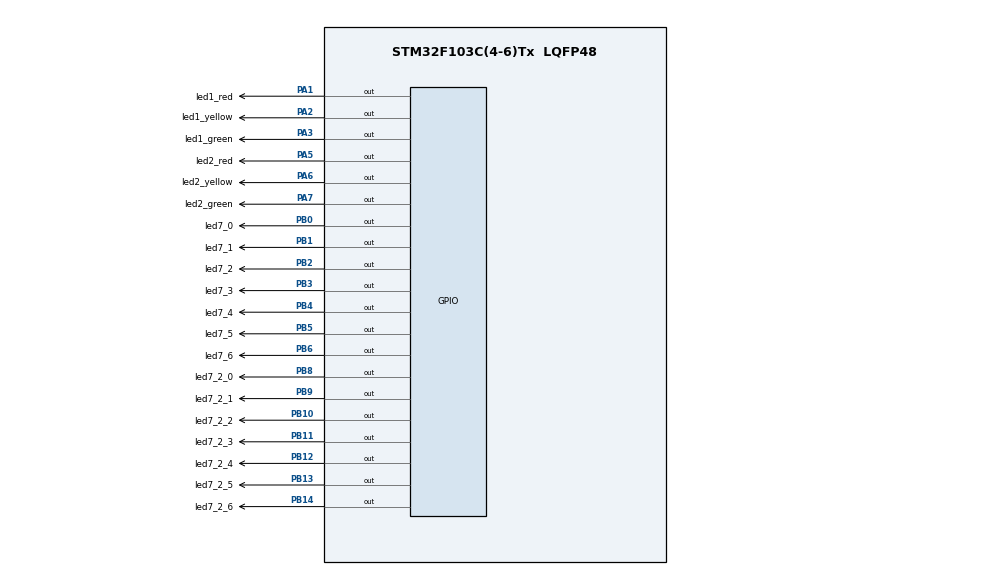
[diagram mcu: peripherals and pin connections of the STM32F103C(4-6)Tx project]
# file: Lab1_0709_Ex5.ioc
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Mcu.Family=STM32F1
Mcu.Name=STM32F103C(4-6)Tx
Mcu.Package=LQFP48
NVIC.PriorityGroup=NVIC_PRIORITYGROUP_4
PA1.GPIO_Label=led1_red
PA1.Signal=GPIO_Output
PA2.GPIO_Label=led1_yellow
PA2.Signal=GPIO_Output
PA3.GPIO_Label=led1_green
PA3.Signal=GPIO_Output
PA5.GPIO_Label=led2_red
PA5.Signal=GPIO_Output
PA6.GPIO_Label=led2_yellow
PA6.Signal=GPIO_Output
PA7.GPIO_Label=led2_green
PA7.Signal=GPIO_Output
PB0.GPIO_Label=led7_0
PB0.Signal=GPIO_Output
PB1.GPIO_Label=led7_1
PB1.Signal=GPIO_Output
PB10.GPIO_Label=led7_2_2
PB10.Signal=GPIO_Output
PB11.GPIO_Label=led7_2_3
PB11.Signal=GPIO_Output
PB12.GPIO_Label=led7_2_4
PB12.Signal=GPIO_Output
PB13.GPIO_Label=led7_2_5
PB13.Signal=GPIO_Output
PB14.GPIO_Label=led7_2_6
PB14.Signal=GPIO_Output
PB2.GPIO_Label=led7_2
PB2.Signal=GPIO_Output
PB3.GPIO_Label=led7_3
PB3.Signal=GPIO_Output
PB4.GPIO_Label=led7_4
PB4.Signal=GPIO_Output
PB5.GPIO_Label=led7_5
PB5.Signal=GPIO_Output
PB6.GPIO_Label=led7_6
PB6.Signal=GPIO_Output
PB8.GPIO_Label=led7_2_0
PB8.Signal=GPIO_Output
PB9.GPIO_Label=led7_2_1
PB9.Signal=GPIO_Output
ProjectManager.HeapSize=0x200
ProjectManager.StackSize=0x400
ProjectManager.TargetToolchain=STM32CubeIDE
RCC.APB1Freq_Value=8000000
RCC.APB2Freq_Value=8000000
VP_SYS_VS_ND.Mode=No_Debug
board=custom

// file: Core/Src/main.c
/* USER CODE BEGIN Header */
/**
  ******************************************************************************
  * @file           : main.c
  * @brief          : Main program body
  ******************************************************************************
  * @attention
  *
  * <h2><center>&copy; Copyright (c) 2021 STMicroelectronics.
  * All rights reserved.</center></h2>
  *
  * This software component is licensed by ST under BSD 3-Clause license,
  * the "License"; You may not use this file except in compliance with the
  * License. You may obtain a copy of the License at:
  *                        opensource.org/licenses/BSD-3-Clause
  *
  ******************************************************************************
  */
/* USER CODE END Header */
#include "main.h"

void SystemClock_Config(void);
static void MX_GPIO_Init(void);

/* USER CODE BEGIN 0 */
void display7SEG1(int num){
	switch(num){
	case 0:
		HAL_GPIO_WritePin(led7_0_GPIO_Port, led7_0_Pin, GPIO_PIN_RESET);
		HAL_GPIO_WritePin(led7_1_GPIO_Port, led7_1_Pin, GPIO_PIN_RESET);
		HAL_GPIO_WritePin(led7_2_GPIO_Port, led7_2_Pin, GPIO_PIN_RESET);
		HAL_GPIO_WritePin(led7_3_GPIO_Port, led7_3_Pin, GPIO_PIN_RESET);
		HAL_GPIO_WritePin(led7_4_GPIO_Port, led7_4_Pin, GPIO_PIN_RESET);
		HAL_GPIO_WritePin(led7_5_GPIO_Port, led7_5_Pin, GPIO_PIN_RESET);
		HAL_GPIO_WritePin(led7_6_GPIO_Port, led7_6_Pin, GPIO_PIN_SET);
		break;
	case 1:
		HAL_GPIO_WritePin(led7_0_GPIO_Port, led7_0_Pin, GPIO_PIN_SET);
		HAL_GPIO_WritePin(led7_1_GPIO_Port, led7_1_Pin, GPIO_PIN_RESET);
		HAL_GPIO_WritePin(led7_2_GPIO_Port, led7_2_Pin, GPIO_PIN_RESET);
		HAL_GPIO_WritePin(led7_3_GPIO_Port, led7_3_Pin, GPIO_PIN_SET);
		HAL_GPIO_WritePin(led7_4_GPIO_Port, led7_4_Pin, GPIO_PIN_SET);
		HAL_GPIO_WritePin(led7_5_GPIO_Port, led7_5_Pin, GPIO_PIN_SET);
		HAL_GPIO_WritePin(led7_6_GPIO_Port, led7_6_Pin, GPIO_PIN_SET);
		break;
	case 2:
		HAL_GPIO_WritePin(led7_0_GPIO_Port, led7_0_Pin, GPIO_PIN_RESET);
		HAL_GPIO_WritePin(led7_1_GPIO_Port, led7_1_Pin, GPIO_PIN_RESET);
		HAL_GPIO_WritePin(led7_2_GPIO_Port, led7_2_Pin, GPIO_PIN_SET);
		HAL_GPIO_WritePin(led7_3_GPIO_Port, led7_3_Pin, GPIO_PIN_RESET);
		HAL_GPIO_WritePin(led7_4_GPIO_Port, led7_4_Pin, GPIO_PIN_RESET);
		HAL_GPIO_WritePin(led7_5_GPIO_Port, led7_5_Pin, GPIO_PIN_SET);
		HAL_GPIO_WritePin(led7_6_GPIO_Port, led7_6_Pin, GPIO_PIN_RESET);
		break;
	case 3:
		HAL_GPIO_WritePin(led7_0_GPIO_Port, led7_0_Pin, GPIO_PIN_RESET);
		HAL_GPIO_WritePin(led7_1_GPIO_Port, led7_1_Pin, GPIO_PIN_RESET);
		HAL_GPIO_WritePin(led7_2_GPIO_Port, led7_2_Pin, GPIO_PIN_RESET);
		HAL_GPIO_WritePin(led7_3_GPIO_Port, led7_3_Pin, GPIO_PIN_RESET);
		HAL_GPIO_WritePin(led7_4_GPIO_Port, led7_4_Pin, GPIO_PIN_SET);
		HAL_GPIO_WritePin(led7_5_GPIO_Port, led7_5_Pin, GPIO_PIN_SET);
		HAL_GPIO_WritePin(led7_6_GPIO_Port, led7_6_Pin, GPIO_PIN_RESET);
		break;
	case 4:
		HAL_GPIO_WritePin(led7_0_GPIO_Port, led7_0_Pin, GPIO_PIN_SET);
		HAL_GPIO_WritePin(led7_1_GPIO_Port, led7_1_Pin, GPIO_PIN_RESET);
		HAL_GPIO_WritePin(led7_2_GPIO_Port, led7_2_Pin, GPIO_PIN_RESET);
		HAL_GPIO_WritePin(led7_3_GPIO_Port, led7_3_Pin, GPIO_PIN_SET);
		HAL_GPIO_WritePin(led7_4_GPIO_Port, led7_4_Pin, GPIO_PIN_SET);
		HAL_GPIO_WritePin(led7_5_GPIO_Port, led7_5_Pin, GPIO_PIN_RESET);
		HAL_GPIO_WritePin(led7_6_GPIO_Port, led7_6_Pin, GPIO_PIN_RESET);
		break;
	case 5:
		HAL_GPIO_WritePin(led7_0_GPIO_Port, led7_0_Pin, GPIO_PIN_RESET);
		HAL_GPIO_WritePin(led7_1_GPIO_Port, led7_1_Pin, GPIO_PIN_SET);
		HAL_GPIO_WritePin(led7_2_GPIO_Port, led7_2_Pin, GPIO_PIN_RESET);
		HAL_GPIO_WritePin(led7_3_GPIO_Port, led7_3_Pin, GPIO_PIN_RESET);
		HAL_GPIO_WritePin(led7_4_GPIO_Port, led7_4_Pin, GPIO_PIN_SET);
		HAL_GPIO_WritePin(led7_5_GPIO_Port, led7_5_Pin, GPIO_PIN_RESET);
		HAL_GPIO_WritePin(led7_6_GPIO_Port, led7_6_Pin, GPIO_PIN_RESET);
		break;
	case 6:
		HAL_GPIO_WritePin(led7_0_GPIO_Port, led7_0_Pin, GPIO_PIN_RESET);
		HAL_GPIO_WritePin(led7_1_GPIO_Port, led7_1_Pin, GPIO_PIN_SET);
		HAL_GPIO_WritePin(led7_2_GPIO_Port, led7_2_Pin, GPIO_PIN_RESET);
		HAL_GPIO_WritePin(led7_3_GPIO_Port, led7_3_Pin, GPIO_PIN_RESET);
		HAL_GPIO_WritePin(led7_4_GPIO_Port, led7_4_Pin, GPIO_PIN_RESET);
		HAL_GPIO_WritePin(led7_5_GPIO_Port, led7_5_Pin, GPIO_PIN_RESET);
		HAL_GPIO_WritePin(led7_6_GPIO_Port, led7_6_Pin, GPIO_PIN_RESET);
		break;
	case 7:
		HAL_GPIO_WritePin(led7_0_GPIO_Port, led7_0_Pin, GPIO_PIN_RESET);
		HAL_GPIO_WritePin(led7_1_GPIO_Port, led7_1_Pin, GPIO_PIN_RESET);
		HAL_GPIO_WritePin(led7_2_GPIO_Port, led7_2_Pin, GPIO_PIN_RESET);
		HAL_GPIO_WritePin(led7_3_GPIO_Port, led7_3_Pin, GPIO_PIN_SET);
		HAL_GPIO_WritePin(led7_4_GPIO_Port, led7_4_Pin, GPIO_PIN_SET);
		HAL_GPIO_WritePin(led7_5_GPIO_Port, led7_5_Pin, GPIO_PIN_SET);
		HAL_GPIO_WritePin(led7_6_GPIO_Port, led7_6_Pin, GPIO_PIN_SET);
		break;
	case 8:
		HAL_GPIO_WritePin(led7_0_GPIO_Port, led7_0_Pin, GPIO_PIN_RESET);
		HAL_GPIO_WritePin(led7_1_GPIO_Port, led7_1_Pin, GPIO_PIN_RESET);
		HAL_GPIO_WritePin(led7_2_GPIO_Port, led7_2_Pin, GPIO_PIN_RESET);
		HAL_GPIO_WritePin(led7_3_GPIO_Port, led7_3_Pin, GPIO_PIN_RESET);
		HAL_GPIO_WritePin(led7_4_GPIO_Port, led7_4_Pin, GPIO_PIN_RESET);
		HAL_GPIO_WritePin(led7_5_GPIO_Port, led7_5_Pin, GPIO_PIN_RESET);
		HAL_GPIO_WritePin(led7_6_GPIO_Port, led7_6_Pin, GPIO_PIN_RESET);
		break;
	case 9:
			HAL_GPIO_WritePin(led7_0_GPIO_Port, led7_0_Pin, GPIO_PIN_RESET);
			HAL_GPIO_WritePin(led7_1_GPIO_Port, led7_1_Pin, GPIO_PIN_RESET);
			HAL_GPIO_WritePin(led7_2_GPIO_Port, led7_2_Pin, GPIO_PIN_RESET);
			HAL_GPIO_WritePin(led7_3_GPIO_Port, led7_3_Pin, GPIO_PIN_RESET);
			HAL_GPIO_WritePin(led7_4_GPIO_Port, led7_4_Pin, GPIO_PIN_SET);
			HAL_GPIO_WritePin(led7_5_GPIO_Port, led7_5_Pin, GPIO_PIN_RESET);
			HAL_GPIO_WritePin(led7_6_GPIO_Port, led7_6_Pin, GPIO_PIN_RESET);
			break;
	}

}
void display7SEG2(int num){
	switch(num){
	case 0:
		HAL_GPIO_WritePin(led7_2_0_GPIO_Port, led7_2_0_Pin, GPIO_PIN_RESET);
		HAL_GPIO_WritePin(led7_2_1_GPIO_Port, led7_2_1_Pin, GPIO_PIN_RESET);
		HAL_GPIO_WritePin(led7_2_2_GPIO_Port, led7_2_2_Pin, GPIO_PIN_RESET);
		HAL_GPIO_WritePin(led7_2_3_GPIO_Port, led7_2_3_Pin, GPIO_PIN_RESET);
		HAL_GPIO_WritePin(led7_2_4_GPIO_Port, led7_2_4_Pin, GPIO_PIN_RESET);
		HAL_GPIO_WritePin(led7_2_5_GPIO_Port, led7_2_5_Pin, GPIO_PIN_RESET);
		HAL_GPIO_WritePin(led7_2_6_GPIO_Port, led7_2_6_Pin, GPIO_PIN_SET);
		break;
	case 1:
		HAL_GPIO_WritePin(led7_2_0_GPIO_Port, led7_2_0_Pin, GPIO_PIN_SET);
		HAL_GPIO_WritePin(led7_2_1_GPIO_Port, led7_2_1_Pin, GPIO_PIN_RESET);
		HAL_GPIO_WritePin(led7_2_2_GPIO_Port, led7_2_2_Pin, GPIO_PIN_RESET);
		HAL_GPIO_WritePin(led7_2_3_GPIO_Port, led7_2_3_Pin, GPIO_PIN_SET);
		HAL_GPIO_WritePin(led7_2_4_GPIO_Port, led7_2_4_Pin, GPIO_PIN_SET);
		HAL_GPIO_WritePin(led7_2_5_GPIO_Port, led7_2_5_Pin, GPIO_PIN_SET);
		HAL_GPIO_WritePin(led7_2_6_GPIO_Port, led7_2_6_Pin, GPIO_PIN_SET);
		break;
	case 2:
		HAL_GPIO_WritePin(led7_2_0_GPIO_Port, led7_2_0_Pin, GPIO_PIN_RESET);
		HAL_GPIO_WritePin(led7_2_1_GPIO_Port, led7_2_1_Pin, GPIO_PIN_RESET);
		HAL_GPIO_WritePin(led7_2_2_GPIO_Port, led7_2_2_Pin, GPIO_PIN_SET);
		HAL_GPIO_WritePin(led7_2_3_GPIO_Port, led7_2_3_Pin, GPIO_PIN_RESET);
		HAL_GPIO_WritePin(led7_2_4_GPIO_Port, led7_2_4_Pin, GPIO_PIN_RESET);
		HAL_GPIO_WritePin(led7_2_5_GPIO_Port, led7_2_5_Pin, GPIO_PIN_SET);
		HAL_GPIO_WritePin(led7_2_6_GPIO_Port, led7_2_6_Pin, GPIO_PIN_RESET);
		break;
	case 3:
		HAL_GPIO_WritePin(led7_2_0_GPIO_Port, led7_2_0_Pin, GPIO_PIN_RESET);
		HAL_GPIO_WritePin(led7_2_1_GPIO_Port, led7_2_1_Pin, GPIO_PIN_RESET);
		HAL_GPIO_WritePin(led7_2_2_GPIO_Port, led7_2_2_Pin, GPIO_PIN_RESET);
		HAL_GPIO_WritePin(led7_2_3_GPIO_Port, led7_2_3_Pin, GPIO_PIN_RESET);
		HAL_GPIO_WritePin(led7_2_4_GPIO_Port, led7_2_4_Pin, GPIO_PIN_SET);
		HAL_GPIO_WritePin(led7_2_5_GPIO_Port, led7_2_5_Pin, GPIO_PIN_SET);
		HAL_GPIO_WritePin(led7_2_6_GPIO_Port, led7_2_6_Pin, GPIO_PIN_RESET);
		break;
	case 4:
		HAL_GPIO_WritePin(led7_2_0_GPIO_Port, led7_2_0_Pin, GPIO_PIN_SET);
		HAL_GPIO_WritePin(led7_2_1_GPIO_Port, led7_2_1_Pin, GPIO_PIN_RESET);
		HAL_GPIO_WritePin(led7_2_2_GPIO_Port, led7_2_2_Pin, GPIO_PIN_RESET);
		HAL_GPIO_WritePin(led7_2_3_GPIO_Port, led7_2_3_Pin, GPIO_PIN_SET);
		HAL_GPIO_WritePin(led7_2_4_GPIO_Port, led7_2_4_Pin, GPIO_PIN_SET);
		HAL_GPIO_WritePin(led7_2_5_GPIO_Port, led7_2_5_Pin, GPIO_PIN_RESET);
		HAL_GPIO_WritePin(led7_2_6_GPIO_Port, led7_2_6_Pin, GPIO_PIN_RESET);
		break;
	case 5:
		HAL_GPIO_WritePin(led7_2_0_GPIO_Port, led7_2_0_Pin, GPIO_PIN_RESET);
		HAL_GPIO_WritePin(led7_2_1_GPIO_Port, led7_2_1_Pin, GPIO_PIN_SET);
		HAL_GPIO_WritePin(led7_2_2_GPIO_Port, led7_2_2_Pin, GPIO_PIN_RESET);
		HAL_GPIO_WritePin(led7_2_3_GPIO_Port, led7_2_3_Pin, GPIO_PIN_RESET);
		HAL_GPIO_WritePin(led7_2_4_GPIO_Port, led7_2_4_Pin, GPIO_PIN_SET);
		HAL_GPIO_WritePin(led7_2_5_GPIO_Port, led7_2_5_Pin, GPIO_PIN_RESET);
		HAL_GPIO_WritePin(led7_2_6_GPIO_Port, led7_2_6_Pin, GPIO_PIN_RESET);
		break;
	case 6:
		HAL_GPIO_WritePin(led7_2_0_GPIO_Port, led7_2_0_Pin, GPIO_PIN_RESET);
		HAL_GPIO_WritePin(led7_2_1_GPIO_Port, led7_2_1_Pin, GPIO_PIN_SET);
		HAL_GPIO_WritePin(led7_2_2_GPIO_Port, led7_2_2_Pin, GPIO_PIN_RESET);
		HAL_GPIO_WritePin(led7_2_3_GPIO_Port, led7_2_3_Pin, GPIO_PIN_RESET);
		HAL_GPIO_WritePin(led7_2_4_GPIO_Port, led7_2_4_Pin, GPIO_PIN_RESET);
		HAL_GPIO_WritePin(led7_2_5_GPIO_Port, led7_2_5_Pin, GPIO_PIN_RESET);
		HAL_GPIO_WritePin(led7_2_6_GPIO_Port, led7_2_6_Pin, GPIO_PIN_RESET);
		break;
	case 7:
		HAL_GPIO_WritePin(led7_2_0_GPIO_Port, led7_2_0_Pin, GPIO_PIN_RESET);
		HAL_GPIO_WritePin(led7_2_1_GPIO_Port, led7_2_1_Pin, GPIO_PIN_RESET);
		HAL_GPIO_WritePin(led7_2_2_GPIO_Port, led7_2_2_Pin, GPIO_PIN_RESET);
		HAL_GPIO_WritePin(led7_2_3_GPIO_Port, led7_2_3_Pin, GPIO_PIN_SET);
		HAL_GPIO_WritePin(led7_2_4_GPIO_Port, led7_2_4_Pin, GPIO_PIN_SET);
		HAL_GPIO_WritePin(led7_2_5_GPIO_Port, led7_2_5_Pin, GPIO_PIN_SET);
		HAL_GPIO_WritePin(led7_2_6_GPIO_Port, led7_2_6_Pin, GPIO_PIN_SET);
		break;
	case 8:
		HAL_GPIO_WritePin(led7_2_0_GPIO_Port, led7_2_0_Pin, GPIO_PIN_RESET);
		HAL_GPIO_WritePin(led7_2_1_GPIO_Port, led7_2_1_Pin, GPIO_PIN_RESET);
		HAL_GPIO_WritePin(led7_2_2_GPIO_Port, led7_2_2_Pin, GPIO_PIN_RESET);
		HAL_GPIO_WritePin(led7_2_3_GPIO_Port, led7_2_3_Pin, GPIO_PIN_RESET);
		HAL_GPIO_WritePin(led7_2_4_GPIO_Port, led7_2_4_Pin, GPIO_PIN_RESET);
		HAL_GPIO_WritePin(led7_2_5_GPIO_Port, led7_2_5_Pin, GPIO_PIN_RESET);
		HAL_GPIO_WritePin(led7_2_6_GPIO_Port, led7_2_6_Pin, GPIO_PIN_RESET);
		break;
	case 9:
			HAL_GPIO_WritePin(led7_2_0_GPIO_Port, led7_2_0_Pin, GPIO_PIN_RESET);
			HAL_GPIO_WritePin(led7_2_1_GPIO_Port, led7_2_1_Pin, GPIO_PIN_RESET);
			HAL_GPIO_WritePin(led7_2_2_GPIO_Port, led7_2_2_Pin, GPIO_PIN_RESET);
			HAL_GPIO_WritePin(led7_2_3_GPIO_Port, led7_2_3_Pin, GPIO_PIN_RESET);
			HAL_GPIO_WritePin(led7_2_4_GPIO_Port, led7_2_4_Pin, GPIO_PIN_SET);
			HAL_GPIO_WritePin(led7_2_5_GPIO_Port, led7_2_5_Pin, GPIO_PIN_RESET);
			HAL_GPIO_WritePin(led7_2_6_GPIO_Port, led7_2_6_Pin, GPIO_PIN_RESET);
			break;
	}

}
/* USER CODE END 0 */

int main(void)
{

  /* MCU Configuration--------------------------------------------------------*/

  /* Reset of all peripherals, Initializes the Flash interface and the Systick. */
  HAL_Init();

  /* Configure the system clock */
  SystemClock_Config();

  /* Initialize all configured peripherals */
  MX_GPIO_Init();

  /* Infinite loop */
  /* USER CODE BEGIN WHILE */
  int counter = 9;

  while (1)
  {
	  if(counter==0){
		  counter=9;
		  display7SEG1(1);display7SEG2(1);
		  HAL_Delay(1000);
	  }
	  if(counter==9){
		  //CONTROL LED1 - RED
		  HAL_GPIO_WritePin(led1_red_GPIO_Port, led1_red_Pin, GPIO_PIN_RESET);
		  HAL_GPIO_WritePin(led1_yellow_GPIO_Port, led1_yellow_Pin, GPIO_PIN_SET);
		  HAL_GPIO_WritePin(led1_green_GPIO_Port, led1_green_Pin, GPIO_PIN_SET);
		  //CONTROL LED2 - GREEN
		  HAL_GPIO_WritePin(led2_red_GPIO_Port, led2_red_Pin, GPIO_PIN_SET);
		  HAL_GPIO_WritePin(led2_yellow_GPIO_Port, led2_yellow_Pin, GPIO_PIN_SET);
		  HAL_GPIO_WritePin(led2_green_GPIO_Port, led2_green_Pin, GPIO_PIN_RESET);

		  display7SEG1(5);display7SEG2(3);
		  HAL_Delay(1000);
	  }
	  if(counter==8){
		  display7SEG1(4);display7SEG2(2);
		  HAL_Delay(1000);
	  }
	  if(counter==7){
		  display7SEG1(3);display7SEG2(1);
		  HAL_Delay(1000);
	  }
	  if(counter==6){
		  //control led2 - yellow
		  HAL_GPIO_WritePin(led2_red_GPIO_Port, led2_red_Pin, GPIO_PIN_SET);
		  HAL_GPIO_WritePin(led2_yellow_GPIO_Port, led2_yellow_Pin, GPIO_PIN_RESET);
		  HAL_GPIO_WritePin(led2_green_GPIO_Port, led2_green_Pin, GPIO_PIN_SET);

		  display7SEG1(2);display7SEG2(2);
		  HAL_Delay(1000);
	  }
	  if(counter==5){
		  display7SEG1(1);display7SEG2(1);
		  HAL_Delay(1000);
	  }

	  if(counter == 4){
		  //control led1 - green
		  HAL_GPIO_WritePin(led1_red_GPIO_Port, led1_red_Pin, GPIO_PIN_SET);
		  HAL_GPIO_WritePin(led1_yellow_GPIO_Port, led1_yellow_Pin, GPIO_PIN_SET);
		  HAL_GPIO_WritePin(led1_green_GPIO_Port, led1_green_Pin, GPIO_PIN_RESET);
		  //control led2 - red
		  HAL_GPIO_WritePin(led2_red_GPIO_Port, led2_red_Pin, GPIO_PIN_RESET);
		  HAL_GPIO_WritePin(led2_yellow_GPIO_Port, led2_yellow_Pin, GPIO_PIN_SET);
		  HAL_GPIO_WritePin(led2_green_GPIO_Port, led2_green_Pin, GPIO_PIN_SET);
		  display7SEG1(3);display7SEG2(5);
		  HAL_Delay(1000);
	  }
	  if(counter==3){
		  display7SEG1(2);display7SEG2(4);
		  HAL_Delay(1000);
	 	  }
	  if(counter==2){
		  display7SEG1(1);display7SEG2(3);
		  HAL_Delay(1000);
	 }
	  if(counter==1){
		  //control led1 - yellow
		  HAL_GPIO_WritePin(led1_red_GPIO_Port, led1_red_Pin, GPIO_PIN_SET);
		  HAL_GPIO_WritePin(led1_yellow_GPIO_Port, led1_yellow_Pin, GPIO_PIN_RESET);
		  HAL_GPIO_WritePin(led1_green_GPIO_Port, led1_green_Pin, GPIO_PIN_SET);
		  display7SEG1(2);display7SEG2(2);
		  HAL_Delay(1000);
	  }

	  counter--;

    /* USER CODE END WHILE */

  }
}

void SystemClock_Config(void)
{
  RCC_OscInitTypeDef RCC_OscInitStruct = {0};
  RCC_ClkInitTypeDef RCC_ClkInitStruct = {0};

  /** Initializes the RCC Oscillators according to the specified parameters
  * in the RCC_OscInitTypeDef structure.
  */
  RCC_OscInitStruct.OscillatorType = RCC_OSCILLATORTYPE_HSI;
  RCC_OscInitStruct.HSIState = RCC_HSI_ON;
  RCC_OscInitStruct.HSICalibrationValue = RCC_HSICALIBRATION_DEFAULT;
  RCC_OscInitStruct.PLL.PLLState = RCC_PLL_NONE;
  if (HAL_RCC_OscConfig(&RCC_OscInitStruct) != HAL_OK)
  {
    Error_Handler();
  }
  /** Initializes the CPU, AHB and APB buses clocks
  */
  RCC_ClkInitStruct.ClockType = RCC_CLOCKTYPE_HCLK|RCC_CLOCKTYPE_SYSCLK
                              |RCC_CLOCKTYPE_PCLK1|RCC_CLOCKTYPE_PCLK2;
  RCC_ClkInitStruct.SYSCLKSource = RCC_SYSCLKSOURCE_HSI;
  RCC_ClkInitStruct.AHBCLKDivider = RCC_SYSCLK_DIV1;
  RCC_ClkInitStruct.APB1CLKDivider = RCC_HCLK_DIV1;
  RCC_ClkInitStruct.APB2CLKDivider = RCC_HCLK_DIV1;

  if (HAL_RCC_ClockConfig(&RCC_ClkInitStruct, FLASH_LATENCY_0) != HAL_OK)
  {
    Error_Handler();
  }
}

static void MX_GPIO_Init(void)
{
  GPIO_InitTypeDef GPIO_InitStruct = {0};

  /* GPIO Ports Clock Enable */
  __HAL_RCC_GPIOA_CLK_ENABLE();
  __HAL_RCC_GPIOB_CLK_ENABLE();

  /*Configure GPIO pin Output Level */
  HAL_GPIO_WritePin(GPIOA, led1_red_Pin|led1_yellow_Pin|led1_green_Pin|led2_red_Pin
                          |led2_yellow_Pin|led2_green_Pin, GPIO_PIN_RESET);

  /*Configure GPIO pin Output Level */
  HAL_GPIO_WritePin(GPIOB, led7_0_Pin|led7_1_Pin|led7_2_Pin|led7_2_2_Pin
                          |led7_2_3_Pin|led7_2_4_Pin|led7_2_5_Pin|led7_2_6_Pin
                          |led7_3_Pin|led7_4_Pin|led7_5_Pin|led7_6_Pin
                          |led7_2_0_Pin|led7_2_1_Pin, GPIO_PIN_RESET);

  /*Configure GPIO pins : led1_red_Pin led1_yellow_Pin led1_green_Pin led2_red_Pin
                           led2_yellow_Pin led2_green_Pin */
  GPIO_InitStruct.Pin = led1_red_Pin|led1_yellow_Pin|led1_green_Pin|led2_red_Pin
                          |led2_yellow_Pin|led2_green_Pin;
  GPIO_InitStruct.Mode = GPIO_MODE_OUTPUT_PP;
  GPIO_InitStruct.Pull = GPIO_NOPULL;
  GPIO_InitStruct.Speed = GPIO_SPEED_FREQ_LOW;
  HAL_GPIO_Init(GPIOA, &GPIO_InitStruct);

  /*Configure GPIO pins : led7_0_Pin led7_1_Pin led7_2_Pin led7_2_2_Pin
                           led7_2_3_Pin led7_2_4_Pin led7_2_5_Pin led7_2_6_Pin
                           led7_3_Pin led7_4_Pin led7_5_Pin led7_6_Pin
                           led7_2_0_Pin led7_2_1_Pin */
  GPIO_InitStruct.Pin = led7_0_Pin|led7_1_Pin|led7_2_Pin|led7_2_2_Pin
                          |led7_2_3_Pin|led7_2_4_Pin|led7_2_5_Pin|led7_2_6_Pin
                          |led7_3_Pin|led7_4_Pin|led7_5_Pin|led7_6_Pin
                          |led7_2_0_Pin|led7_2_1_Pin;
  GPIO_InitStruct.Mode = GPIO_MODE_OUTPUT_PP;
  GPIO_InitStruct.Pull = GPIO_NOPULL;
  GPIO_InitStruct.Speed = GPIO_SPEED_FREQ_LOW;
  HAL_GPIO_Init(GPIOB, &GPIO_InitStruct);

}

void Error_Handler(void)
{
  __disable_irq();
  while (1)
  {
  }
}

/************************ (C) COPYRIGHT STMicroelectronics *****END OF FILE****/
